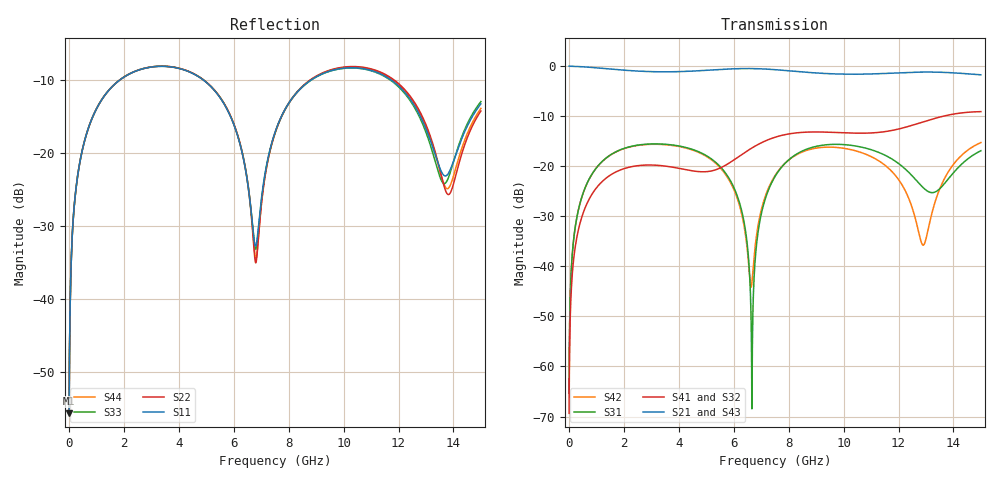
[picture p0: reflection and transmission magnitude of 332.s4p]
! Created with skrf 1.8.0 (http://scikit-rf.org).
# GHz S RI R 50.0
!freq ReS11 ImS11 ReS12 ImS12 ReS13 ImS13
! ReS14 ImS14
! ReS21 ImS21 ReS22 ImS22 ReS23 ImS23
! ReS24 ImS24
! ReS31 ImS31 ReS32 ImS32 ReS33 ImS33
! ReS34 ImS34
! ReS41 ImS41 ReS42 ImS42 ReS43 ImS43
! ReS44 ImS44
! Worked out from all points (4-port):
!   2499 points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, 5 MHz to 15 GHz, reference 50 ohm
!   strongest paths, dB at 5 MHz, 3.476 GHz, 7.19 GHz, 11.1 GHz, 15 GHz:
!     S21: 0.0, -1.1, -0.6, -1.6, -1.7
!     S43: 0.0, -1.1, -0.6, -1.5, -1.8
!     S41: -69.4, -19.9, -14.8, -13.3, -9.1
!     S32: -69.4, -20.0, -14.9, -13.4, -9.1
!     S31: -65.3, -15.6, -25.8, -16.9, -16.9
!     S42: -65.3, -15.7, -25.4, -18.3, -15.3
!   lowest |S11| = -55.6 dB at 5 MHz (marker M1), VSWR 1.00, Z = 50.1 + j0.1 ohm
!   |S11| at or under -10 dB: start of sweep to 1.873 GHz; 4.87 GHz to 8.839 GHz (3.97 GHz wide, 57.9 % of centre); 11.71 GHz to end of sweep
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0.005  0.00132 0.000999  0.9987 -0.00257  6.59e-05 0.000539  -6.39e-05 -0.000335
       0.9987 -0.00257  0.00132 0.000999  -6.39e-05 -0.000335  6.58e-05 0.000539
       6.59e-05 0.000539  -6.39e-05 -0.000335  0.00132 0.000999  0.9987 -0.00257
       -6.39e-05 -0.000335  6.58e-05 0.000539  0.9987 -0.00257  0.00132 0.000999
0.4126719  0.0254 0.0858  0.9649 -0.2095  0.0125 0.0419  -0.0103 -0.0257
           0.9649 -0.2095  0.0254 0.0858  -0.0103 -0.0257  0.0123 0.042
           0.0125 0.0419  -0.0103 -0.0257  0.0254 0.0858  0.9649 -0.2095
           -0.0103 -0.0257  0.0123 0.042  0.9649 -0.2095  0.0254 0.0858
2.075865  0.2897 0.1685  0.5009 -0.7571  0.1423 0.0559  -0.0959 0.00285
          0.5009 -0.7571  0.2907 0.1677  -0.0957 0.00262  0.1402 0.0592
          0.1423 0.0559  -0.0957 0.00262  0.2898 0.1684  0.5008 -0.7571
          -0.0959 0.00285  0.1402 0.0592  0.5008 -0.7571  0.2906 0.1677
6.81534  0.023 0.00387  -0.9404 -0.0679  0.00457 0.0144  -0.00499 0.161
         -0.9404 -0.0679  0.0177 0.00246  -0.00844 0.1608  0.0101 0.0161
         0.00457 0.0144  -0.00844 0.1608  0.0219 0.00273  -0.9404 -0.0681
         -0.00499 0.161  0.0101 0.0161  -0.9404 -0.0681  0.0189 0.00141
10.89829  0.3627 -0.0685  0.1148 0.8256  0.0919 -0.1176  0.1977 -0.0828
          0.1148 0.8256  0.3697 -0.0787  0.1987 -0.0753  0.0963 -0.0854
          0.0919 -0.1176  0.1987 -0.0753  0.3604 -0.0712  0.1159 0.8265
          0.1977 -0.0828  0.0963 -0.0854  0.1159 0.8265  0.3666 -0.0762
12.89912  0.114 -0.1138  0.7504 0.4442  -0.0548 -0.0271  0.1308 -0.2448
          0.7504 0.4442  0.1058 -0.1352  0.1411 -0.2389  -0.0163 -0.000223
          -0.0548 -0.0271  0.1411 -0.2389  0.1054 -0.112  0.7527 0.442
          0.1308 -0.2448  -0.0163 -0.000223  0.7527 0.442  0.1074 -0.128
15  0.1712 0.1309  0.736 -0.3589  0.1164 0.0828  -0.197 -0.2905
    0.736 -0.3589  0.145 0.127  -0.1844 -0.298  0.1567 0.0717
    0.1164 0.0828  -0.1844 -0.298  0.1723 0.1423  0.7323 -0.362
    -0.197 -0.2905  0.1567 0.0717  0.7323 -0.362  0.153 0.13
